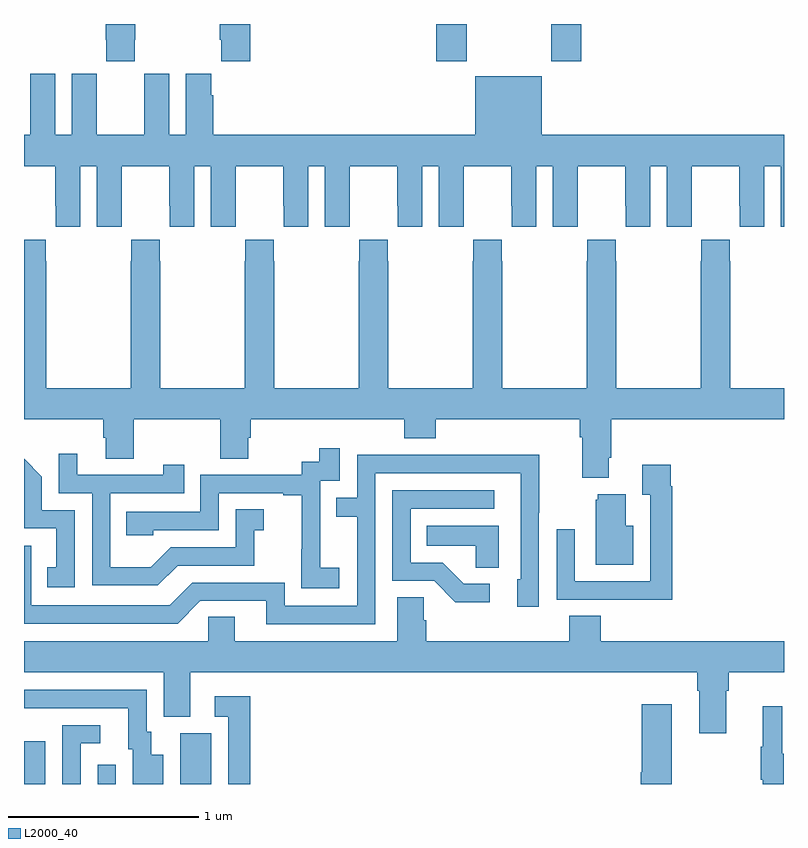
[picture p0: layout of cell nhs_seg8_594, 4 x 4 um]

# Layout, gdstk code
import gdstk
lib = gdstk.Library(unit=1e-6, precision=1e-09)
def R(c, l, rs):  # rectangles x0, y0, x1, y1
    for r in rs: c.add(gdstk.rectangle(r[:2], r[2:], *l))
def P(c, l, *ps):  # polygons
    for p in ps: c.add(gdstk.Polygon(p, *l))
L2000_40 = (2000, 40)

nhs_seg8_594 = lib.new_cell('nhs_seg8_594')
R(nhs_seg8_594, L2000_40, [(149,1127.9,149.113,1128.124), (149.388,1127.9,149.484,1128.001), (149.822,1127.9,149.986,1128.168), (151.169,1131.705,151.329,1131.9), (151.774,1131.705,151.934,1131.9)])
P(nhs_seg8_594, L2000_40, [(150.191,1131.9),(150.031,1131.9),(150.031,1131.817),(150.037,1131.817),(150.037,1131.705),(150.191,1131.705)],
  [(149.583,1131.817),(149.586,1131.817),(149.586,1131.9),(149.431,1131.9),(149.431,1131.817),(149.433,1131.817),(149.433,1131.705),(149.583,1131.705)],
  [(150.114,1130.944),(150.115,1130.944),(150.115,1131.152),(150.365,1131.152),(150.365,1130.944),(150.366,1130.944),(150.366,1130.832),(150.496,1130.832),(150.496,1131.152),(150.584,1131.152),(150.584,1130.832),(150.714,1130.832),(150.714,1130.944),(150.715,1130.944),(150.715,1131.152),(150.965,1131.152),(150.965,1130.944),(150.966,1130.944),(150.966,1130.832),(151.096,1130.832),(151.096,1131.152),(151.184,1131.152),(151.184,1130.832),(151.314,1130.832),(151.314,1130.944),(151.315,1130.944),(151.315,1131.152),(151.565,1131.152),(151.565,1130.944),(151.566,1130.944),(151.566,1130.832),(151.696,1130.832),(151.696,1131.152),(151.784,1131.152),(151.784,1130.832),(151.914,1130.832),(151.914,1130.944),(151.915,1130.944),(151.915,1131.152),(152.165,1131.152),(152.165,1130.944),(152.166,1130.944),(152.166,1130.832),(152.296,1130.832),(152.296,1131.152),(152.384,1131.152),(152.384,1130.832),(152.514,1130.832),(152.514,1130.944),(152.515,1130.944),(152.515,1131.152),(152.765,1131.152),(152.765,1130.944),(152.766,1130.944),(152.766,1130.832),(152.896,1130.832),(152.896,1131.152),(152.984,1131.152),(152.984,1130.832),(153,1130.832),(153,1131.316),(151.726,1131.316),(151.726,1131.625),(151.376,1131.625),(151.376,1131.316),(149.996,1131.316),(149.996,1131.524),(149.986,1131.524),(149.986,1131.637),(149.852,1131.637),(149.852,1131.316),(149.764,1131.316),(149.764,1131.637),(149.634,1131.637),(149.634,1131.524),(149.633,1131.524),(149.633,1131.316),(149.383,1131.316),(149.383,1131.524),(149.382,1131.524),(149.382,1131.637),(149.252,1131.637),(149.252,1131.316),(149.164,1131.316),(149.164,1131.637),(149.034,1131.637),(149.034,1131.524),(149.033,1131.524),(149.033,1131.316),(149,1131.316),(149,1131.152),(149.165,1131.152),(149.165,1130.944),(149.166,1130.944),(149.166,1130.832),(149.296,1130.832),(149.296,1131.152),(149.384,1131.152),(149.384,1130.832),(149.514,1130.832),(149.514,1130.944),(149.515,1130.944),(149.515,1131.152),(149.765,1131.152),(149.765,1130.944),(149.766,1130.944),(149.766,1130.832),(149.896,1130.832),(149.896,1131.152),(149.984,1131.152),(149.984,1130.832),(150.114,1130.832)],
  [(152.077,1129.618),(152.09,1129.618),(152.09,1129.82),(153,1129.82),(153,1129.984),(152.718,1129.984),(152.718,1130.651),(152.715,1130.651),(152.715,1130.764),(152.565,1130.764),(152.565,1130.651),(152.563,1130.651),(152.563,1129.984),(152.118,1129.984),(152.118,1130.651),(152.115,1130.651),(152.115,1130.764),(151.965,1130.764),(151.965,1130.651),(151.963,1130.651),(151.963,1129.984),(151.518,1129.984),(151.518,1130.651),(151.515,1130.651),(151.515,1130.764),(151.365,1130.764),(151.365,1130.651),(151.363,1130.651),(151.363,1129.984),(150.918,1129.984),(150.918,1130.651),(150.915,1130.651),(150.915,1130.764),(150.765,1130.764),(150.765,1130.651),(150.763,1130.651),(150.763,1129.984),(150.318,1129.984),(150.318,1130.651),(150.315,1130.651),(150.315,1130.764),(150.165,1130.764),(150.165,1130.651),(150.163,1130.651),(150.163,1129.984),(149.718,1129.984),(149.718,1130.651),(149.715,1130.651),(149.715,1130.764),(149.565,1130.764),(149.565,1130.651),(149.563,1130.651),(149.563,1129.984),(149.118,1129.984),(149.118,1130.651),(149.115,1130.651),(149.115,1130.764),(149,1130.764),(149,1129.82),(149.417,1129.82),(149.417,1129.722),(149.429,1129.722),(149.429,1129.612),(149.577,1129.612),(149.577,1129.82),(150.034,1129.82),(150.034,1129.612),(150.181,1129.612),(150.181,1129.722),(150.194,1129.722),(150.194,1129.82),(151.001,1129.82),(151.001,1129.721),(151.166,1129.721),(151.166,1129.82),(151.925,1129.82),(151.925,1129.724),(151.937,1129.724),(151.937,1129.511),(152.077,1129.511)],
  [(150.658,1129.039),(150.56,1129.039),(150.56,1129.268),(150.558,1129.268),(150.558,1129.497),(150.663,1129.497),(150.663,1129.666),(150.555,1129.666),(150.555,1129.596),(150.462,1129.596),(150.462,1129.527),(149.928,1129.527),(149.928,1129.332),(149.539,1129.332),(149.539,1129.209),(149.679,1129.209),(149.679,1129.236),(150.024,1129.236),(150.024,1129.431),(150.365,1129.431),(150.365,1129.419),(150.461,1129.419),(150.461,1129.135),(150.46,1129.135),(150.46,1128.929),(150.658,1128.929)],
  [(149.809,1129.05),(150.213,1129.05),(150.213,1129.235),(150.262,1129.235),(150.262,1129.345),(150.114,1129.345),(150.114,1129.146),(149.772,1129.146),(149.668,1129.042),(149.454,1129.042),(149.454,1129.431),(149.843,1129.431),(149.843,1129.579),(149.732,1129.579),(149.732,1129.527),(149.281,1129.527),(149.281,1129.639),(149.184,1129.639),(149.184,1129.431),(149.358,1129.431),(149.358,1128.945),(149.704,1128.945)],
  [(150.849,1129.536),(151.614,1129.536),(151.614,1128.978),(151.595,1128.978),(151.595,1128.834),(151.71,1128.834),(151.71,1129.327),(151.713,1129.327),(151.713,1129.634),(151.249,1129.634),(151.249,1129.632),(150.753,1129.632),(150.753,1129.407),(150.643,1129.407),(150.643,1129.306),(150.753,1129.306),(150.753,1128.837),(150.372,1128.837),(150.372,1128.96),(149.886,1128.96),(149.766,1128.84),(149.037,1128.84),(149.037,1129.155),(149,1129.155),(149,1128.744),(149.808,1128.744),(149.928,1128.864),(150.275,1128.864),(150.275,1128.741),(150.849,1128.741)],
  [(149.268,1129.341),(149.094,1129.341),(149.094,1129.518),(149,1129.612),(149,1129.245),(149.171,1129.245),(149.171,1129.041),(149.122,1129.041),(149.122,1128.936),(149.268,1128.936)],
  [(152.411,1129.466),(152.404,1129.466),(152.404,1129.579),(152.255,1129.579),(152.255,1129.423),(152.295,1129.423),(152.295,1128.966),(151.899,1128.966),(151.899,1129.24),(151.803,1129.24),(151.803,1128.87),(152.119,1128.87),(152.119,1128.869),(152.411,1128.869)],
  [(151.45,1128.954),(151.315,1128.954),(151.204,1129.065),(151.035,1129.065),(151.035,1129.35),(151.474,1129.35),(151.474,1129.446),(150.939,1129.446),(150.939,1128.969),(151.158,1128.969),(151.271,1128.857),(151.45,1128.857)],
  [(152.206,1129.258),(152.167,1129.258),(152.167,1129.426),(152.021,1129.426),(152.021,1129.395),(152.009,1129.395),(152.009,1129.055),(152.206,1129.055)],
  [(151.498,1129.258),(151.12,1129.258),(151.12,1129.154),(151.377,1129.154),(151.377,1129.039),(151.498,1129.039)],
  [(152.695,1128.392),(152.708,1128.392),(152.708,1128.488),(153,1128.488),(153,1128.652),(152.036,1128.652),(152.036,1128.785),(151.871,1128.785),(151.871,1128.652),(151.118,1128.652),(151.118,1128.761),(151.104,1128.761),(151.104,1128.884),(150.965,1128.884),(150.965,1128.652),(150.109,1128.652),(150.109,1128.779),(149.97,1128.779),(149.97,1128.652),(149,1128.652),(149,1128.488),(149.735,1128.488),(149.735,1128.253),(149.875,1128.253),(149.875,1128.488),(152.543,1128.488),(152.543,1128.392),(152.555,1128.392),(152.555,1128.168),(152.695,1128.168)],
  [(149.734,1128.055),(149.671,1128.055),(149.671,1128.174),(149.646,1128.174),(149.646,1128.396),(149,1128.396),(149,1128.3),(149.549,1128.3),(149.549,1128.084),(149.573,1128.084),(149.573,1127.9),(149.734,1127.9)],
  [(150.191,1128.361),(150.003,1128.361),(150.003,1128.255),(150.075,1128.255),(150.075,1127.9),(150.191,1127.9)],
  [(152.41,1128.319),(152.252,1128.319),(152.252,1127.961),(152.246,1127.961),(152.246,1127.9),(152.41,1127.9)],
  [(152.998,1128.06),(152.99,1128.06),(152.99,1128.31),(152.888,1128.31),(152.888,1128.097),(152.877,1128.097),(152.877,1127.923),(152.888,1127.923),(152.888,1127.9),(152.998,1127.9)],
  [(149.298,1128.114),(149.401,1128.114),(149.401,1128.21),(149.202,1128.21),(149.202,1127.9),(149.298,1127.9)])

lib.write_gds('nhs_seg8_594.gds')
